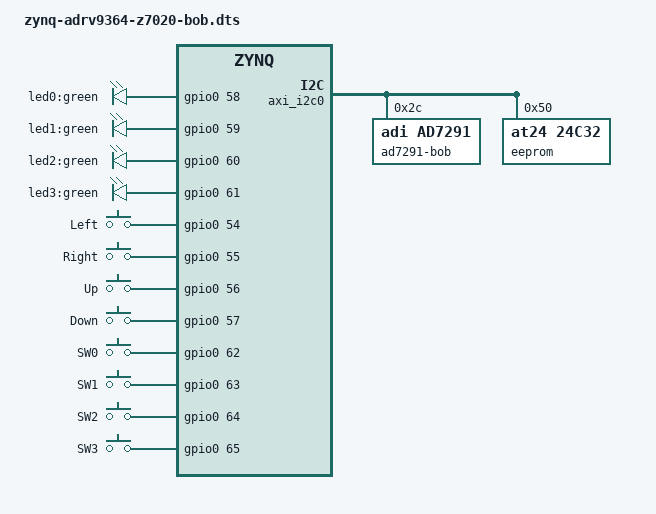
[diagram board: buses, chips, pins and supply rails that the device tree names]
/dts-v1/;
/include/ "zynq-adrv9364-z7020.dtsi"


&axi_i2c0 {
	ad7291-bob@2C {
		compatible = "adi,ad7291";
		reg = <0x2c>;
	};

	eeprom@50 {
		compatible = "at24,24c32";
		reg = <0x50>;
	};
};

/ {
	leds {
		compatible = "gpio-leds";
		led0 {
			label = "led0:green";
			gpios = <&gpio0 58 0>;
		};

		led1 {
			label = "led1:green";
			gpios = <&gpio0 59 0>;
		};

		led2 {
			label = "led2:green";
			gpios = <&gpio0 60 0>;
		};

		led3 {
			label = "led3:green";
			gpios = <&gpio0 61 0>;
		};
	};

	gpio_keys {
		compatible = "gpio-keys";
		#address-cells = <1>;
		#size-cells = <0>;
		autorepeat;

		pb0 {
			label = "Left";
			linux,code = <105>;
			gpios = <&gpio0 54 0>;
		};

		pb1 {
			label = "Right";
			linux,code = <106>;
			gpios = <&gpio0 55 0>;
		};

		pb2 {
			label = "Up";
			linux,code = <103>;
			gpios = <&gpio0 56 0>;
		};

		pb3 {
			label = "Down";
			linux,code = <108>;
			gpios = <&gpio0 57 0>;
		};

		sw0 {
			label = "SW0";
			linux,input-type = <5>;
			linux,code = <0>;
			gpios = <&gpio0 62 0>;
		};

		sw1 {
			label = "SW1";
			linux,input-type = <5>;
			linux,code = <1>;
			gpios = <&gpio0 63 0>;
		};

		sw2 {
			label = "SW2";
			linux,input-type = <5>;
			linux,code = <2>;
			gpios = <&gpio0 64 0>;
		};

		sw3 {
			label = "SW3";
			linux,input-type = <5>;
			linux,code = <3>;
			gpios = <&gpio0 65 0>;
		};
	};
};
